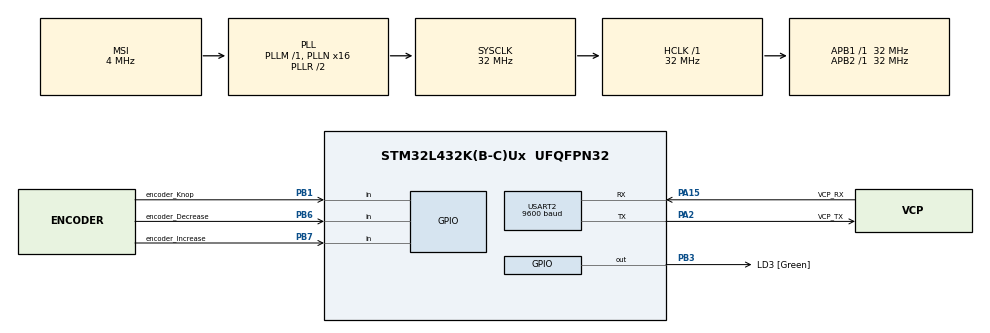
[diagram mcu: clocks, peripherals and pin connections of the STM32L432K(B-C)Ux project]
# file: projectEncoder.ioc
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Mcu.Family=STM32L4
Mcu.Name=STM32L432K(B-C)Ux
Mcu.Package=UFQFPN32
NVIC.PriorityGroup=NVIC_PRIORITYGROUP_4
PA0.GPIO_Label=MCO [High speed clock in]
PA0.Mode=HSE-External-Clock-Source-for-LittleOrca
PA0.Signal=RCC_CK_IN
PA13\ (JTMS-SWDIO).GPIO_Label=SWDIO
PA13\ (JTMS-SWDIO).Mode=Serial_Wire
PA13\ (JTMS-SWDIO).Signal=SYS_JTMS-SWDIO
PA14\ (JTCK-SWCLK).GPIO_Label=SWCLK
PA14\ (JTCK-SWCLK).Mode=Serial_Wire
PA14\ (JTCK-SWCLK).Signal=SYS_JTCK-SWCLK
PA15\ (JTDI).GPIO_Label=VCP_RX
PA15\ (JTDI).Mode=Asynchronous
PA15\ (JTDI).Signal=USART2_RX
PA2.GPIO_Label=VCP_TX
PA2.Mode=Asynchronous
PA2.Signal=USART2_TX
PB1.GPIO_Label=encoder_Knop
PB1.GPIO_PuPd=GPIO_PULLUP
PB1.Signal=GPIO_Input
PB3\ (JTDO-TRACESWO).GPIO_Label=LD3 [Green]
PB3\ (JTDO-TRACESWO).Signal=GPIO_Output
PB6.GPIO_Label=encoder_Decrease
PB6.GPIO_PuPd=GPIO_PULLDOWN
PB6.Signal=GPIO_Input
PB7.GPIO_Label=encoder_Increase
PB7.GPIO_PuPd=GPIO_PULLDOWN
PB7.Signal=GPIO_Input
PC14-OSC32_IN\ (PC14).Mode=LSE-External-Oscillator
PC14-OSC32_IN\ (PC14).Signal=RCC_OSC32_IN
PC15-OSC32_OUT\ (PC15).Mode=LSE-External-Oscillator
PC15-OSC32_OUT\ (PC15).Signal=RCC_OSC32_OUT
ProjectManager.HeapSize=0x200
ProjectManager.StackSize=0x400
ProjectManager.TargetToolchain=STM32CubeIDE
RCC.AHBFreq_Value=32000000
RCC.APB1Freq_Value=32000000
RCC.APB1TimFreq_Value=32000000
RCC.APB2Freq_Value=32000000
RCC.APB2TimFreq_Value=32000000
RCC.CortexFreq_Value=32000000
RCC.HCLKFreq_Value=32000000
RCC.HSE_VALUE=8000000
RCC.HSI16_VALUE=16000000
RCC.HSI48_VALUE=48000000
RCC.HSI_VALUE=16000000
RCC.MSI_VALUE=4000000
RCC.PLLMUL=RCC_PLLMUL_4
RCC.PLLN=16
RCC.SYSCLKFreq_VALUE=32000000
RCC.SYSCLKSource=RCC_SYSCLKSOURCE_PLLCLK
RCC.VCOOutputFreq_Value=64000000
USART2.BaudRate=9600
USART2.VirtualMode-Asynchronous=VM_ASYNC
board=NUCLEO-L432KC

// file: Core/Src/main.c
/* USER CODE BEGIN Header */
/**
  ******************************************************************************
  * @file           : main.c
  * @brief          : Main program body
  ******************************************************************************
  * @attention
  *
  * Copyright (c) 2026 STMicroelectronics.
  * All rights reserved.
  *
  * This software is licensed under terms that can be found in the LICENSE file
  * in the root directory of this software component.
  * If no LICENSE file comes with this software, it is provided AS-IS.
  *
  ******************************************************************************
  */
/* USER CODE END Header */
#include "main.h"

/* USER CODE BEGIN Includes */
#include <stdio.h>
/* USER CODE END Includes */

UART_HandleTypeDef huart2;

void SystemClock_Config(void);
static void MX_GPIO_Init(void);
static void MX_USART2_UART_Init(void);

/* USER CODE BEGIN 0 */
typedef struct {
	uint16_t pin;
	GPIO_PinState state;
	char label[5];
} Button;

typedef struct {
	Button* buttonIncrease;
	Button* buttonDecrease;
	int state;
} Encoder;

int checkButton(Button* button) {//Return 0 if state is the same, 1 if state has changed
	GPIO_PinState value = HAL_GPIO_ReadPin(GPIOB, (*button).pin);
	if (value != (*button).state) {
		(*button).state = value;
		return 1;
	}
	else {
		return 0;
	}
}

int checkEncoder(Encoder* encoder) {//Returns 0 if state is the same, 1 if state has changed
	int increaseChange = checkButton((*encoder).buttonIncrease);
	int decreaseChange = checkButton((*encoder).buttonDecrease);
	if (increaseChange && encoder->buttonIncrease->state && !encoder->buttonDecrease->state) {
		encoder->state += 1;
		return 1;
	}
	if (decreaseChange && encoder->buttonDecrease->state && !encoder->buttonIncrease->state) {
		encoder->state -= 1;
		return 1;
	}
	return 0;
}
/* USER CODE END 0 */

int main(void)
{

  /* MCU Configuration--------------------------------------------------------*/

  /* Reset of all peripherals, Initializes the Flash interface and the Systick. */
  HAL_Init();

  /* Configure the system clock */
  SystemClock_Config();

  /* Initialize all configured peripherals */
  MX_GPIO_Init();
  MX_USART2_UART_Init();
  /* USER CODE BEGIN 2 */

  Button buttons[3] = {};

  buttons[0].pin = encoder_Knop_Pin;
  buttons[0].state = GPIO_PIN_RESET;
  sprintf(buttons[0].label, "enbu");

  buttons[1].pin = encoder_Decrease_Pin;
  buttons[1].state = GPIO_PIN_RESET;
  sprintf(buttons[1].label, "ende");

  buttons[2].pin = encoder_Increase_Pin;
  buttons[2].state = GPIO_PIN_RESET;
  sprintf(buttons[2].label, "enin");

  Encoder encoder = {&buttons[2], &buttons[1], 0};

  char initString[] = "Start\n\r";
  HAL_StatusTypeDef res = HAL_UART_Transmit(&huart2, //pointer naar struct
		  initString, //pointer naar data
		  7, //Lengte
		  5000); //TimeoutHAL_UART_TRANSMIT();
  /* USER CODE END 2 */

  /* Infinite loop */
  /* USER CODE BEGIN WHILE */
  while (1)
  {
	  //Buttons, starts at last button to avoid updating the encoder
	  for (int i=0; i<1; i++) {
		  Button* button = &buttons[i];
		  int changed = checkButton(button);
		  if (changed) {
			  char string[40];
			  int stringLen = 0;
			  if ((*button).state==GPIO_PIN_SET) {
				  stringLen = sprintf(string, "Button %s changed state to OFF\n\r", (*button).label);
			  }
			  else {
				  stringLen = sprintf(string, "Button %s changed state to ON\n\r", (*button).label);
			  }
			  HAL_StatusTypeDef res = HAL_UART_Transmit(&huart2, //pointer naar struct
					  string, //pointer naar data
					  stringLen, //Lengte
					  5000); //TimeoutHAL_UART_TRANSMIT();
		  }
	  }

	  //Encoder
	  int changed = checkEncoder(&encoder);
	  if (changed) {
		  char string[40];
		  int stringLen = sprintf(string, "Encoder changed: %d\n\r", encoder.state);
		  HAL_StatusTypeDef res = HAL_UART_Transmit(&huart2, //pointer naar struct
				  string, //pointer naar data
				  stringLen, //Lengte
				  5000); //TimeoutHAL_UART_TRANSMIT();
	  }

    /* USER CODE END WHILE */

  }
}

void SystemClock_Config(void)
{
  RCC_OscInitTypeDef RCC_OscInitStruct = {0};
  RCC_ClkInitTypeDef RCC_ClkInitStruct = {0};

  /** Configure the main internal regulator output voltage
  */
  if (HAL_PWREx_ControlVoltageScaling(PWR_REGULATOR_VOLTAGE_SCALE1) != HAL_OK)
  {
    Error_Handler();
  }

  /** Configure LSE Drive Capability
  */
  HAL_PWR_EnableBkUpAccess();
  __HAL_RCC_LSEDRIVE_CONFIG(RCC_LSEDRIVE_LOW);

  /** Initializes the RCC Oscillators according to the specified parameters
  * in the RCC_OscInitTypeDef structure.
  */
  RCC_OscInitStruct.OscillatorType = RCC_OSCILLATORTYPE_LSE|RCC_OSCILLATORTYPE_MSI;
  RCC_OscInitStruct.LSEState = RCC_LSE_ON;
  RCC_OscInitStruct.MSIState = RCC_MSI_ON;
  RCC_OscInitStruct.MSICalibrationValue = 0;
  RCC_OscInitStruct.MSIClockRange = RCC_MSIRANGE_6;
  RCC_OscInitStruct.PLL.PLLState = RCC_PLL_ON;
  RCC_OscInitStruct.PLL.PLLSource = RCC_PLLSOURCE_MSI;
  RCC_OscInitStruct.PLL.PLLM = 1;
  RCC_OscInitStruct.PLL.PLLN = 16;
  RCC_OscInitStruct.PLL.PLLP = RCC_PLLP_DIV7;
  RCC_OscInitStruct.PLL.PLLQ = RCC_PLLQ_DIV2;
  RCC_OscInitStruct.PLL.PLLR = RCC_PLLR_DIV2;
  if (HAL_RCC_OscConfig(&RCC_OscInitStruct) != HAL_OK)
  {
    Error_Handler();
  }

  /** Initializes the CPU, AHB and APB buses clocks
  */
  RCC_ClkInitStruct.ClockType = RCC_CLOCKTYPE_HCLK|RCC_CLOCKTYPE_SYSCLK
                              |RCC_CLOCKTYPE_PCLK1|RCC_CLOCKTYPE_PCLK2;
  RCC_ClkInitStruct.SYSCLKSource = RCC_SYSCLKSOURCE_PLLCLK;
  RCC_ClkInitStruct.AHBCLKDivider = RCC_SYSCLK_DIV1;
  RCC_ClkInitStruct.APB1CLKDivider = RCC_HCLK_DIV1;
  RCC_ClkInitStruct.APB2CLKDivider = RCC_HCLK_DIV1;

  if (HAL_RCC_ClockConfig(&RCC_ClkInitStruct, FLASH_LATENCY_1) != HAL_OK)
  {
    Error_Handler();
  }

  /** Enable MSI Auto calibration
  */
  HAL_RCCEx_EnableMSIPLLMode();
}

static void MX_USART2_UART_Init(void)
{

  huart2.Instance = USART2;
  huart2.Init.BaudRate = 9600;
  huart2.Init.WordLength = UART_WORDLENGTH_8B;
  huart2.Init.StopBits = UART_STOPBITS_1;
  huart2.Init.Parity = UART_PARITY_NONE;
  huart2.Init.Mode = UART_MODE_TX_RX;
  huart2.Init.HwFlowCtl = UART_HWCONTROL_NONE;
  huart2.Init.OverSampling = UART_OVERSAMPLING_16;
  huart2.Init.OneBitSampling = UART_ONE_BIT_SAMPLE_DISABLE;
  huart2.AdvancedInit.AdvFeatureInit = UART_ADVFEATURE_NO_INIT;
  if (HAL_UART_Init(&huart2) != HAL_OK)
  {
    Error_Handler();
  }

}

static void MX_GPIO_Init(void)
{
  GPIO_InitTypeDef GPIO_InitStruct = {0};

  /* GPIO Ports Clock Enable */
  __HAL_RCC_GPIOC_CLK_ENABLE();
  __HAL_RCC_GPIOA_CLK_ENABLE();
  __HAL_RCC_GPIOB_CLK_ENABLE();

  /*Configure GPIO pin Output Level */
  HAL_GPIO_WritePin(LD3_GPIO_Port, LD3_Pin, GPIO_PIN_RESET);

  /*Configure GPIO pin : encoder_Knop_Pin */
  GPIO_InitStruct.Pin = encoder_Knop_Pin;
  GPIO_InitStruct.Mode = GPIO_MODE_INPUT;
  GPIO_InitStruct.Pull = GPIO_PULLUP;
  HAL_GPIO_Init(encoder_Knop_GPIO_Port, &GPIO_InitStruct);

  /*Configure GPIO pin : LD3_Pin */
  GPIO_InitStruct.Pin = LD3_Pin;
  GPIO_InitStruct.Mode = GPIO_MODE_OUTPUT_PP;
  GPIO_InitStruct.Pull = GPIO_NOPULL;
  GPIO_InitStruct.Speed = GPIO_SPEED_FREQ_LOW;
  HAL_GPIO_Init(LD3_GPIO_Port, &GPIO_InitStruct);

  /*Configure GPIO pins : encoder_Decrease_Pin encoder_Increase_Pin */
  GPIO_InitStruct.Pin = encoder_Decrease_Pin|encoder_Increase_Pin;
  GPIO_InitStruct.Mode = GPIO_MODE_INPUT;
  GPIO_InitStruct.Pull = GPIO_PULLDOWN;
  HAL_GPIO_Init(GPIOB, &GPIO_InitStruct);

}

void Error_Handler(void)
{
  __disable_irq();
  while (1)
  {
  }
}
